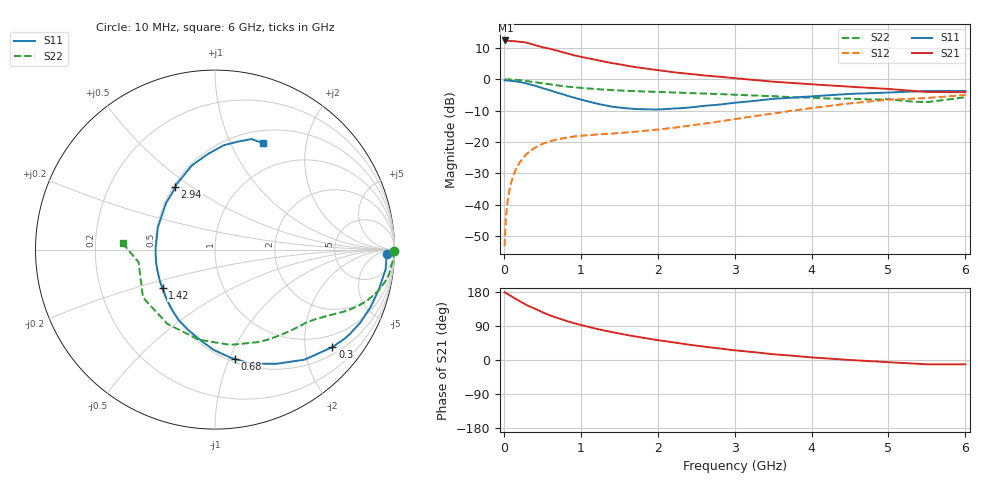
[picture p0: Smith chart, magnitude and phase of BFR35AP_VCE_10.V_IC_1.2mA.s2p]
! Infineon Technologies  Discrete & RF Semiconductors
! BFR35AP
! VCE =  10. V,  IC =  1.2 mA
! Common Emitter S-Parameters:  Nov 2015
# GHz  S  MA  R  50
!  f  S11  S21  S12  S22
! GHz  MAG  ANG  MAG  ANG  MAG  ANG  MAG  ANG
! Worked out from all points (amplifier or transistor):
!   210 points, 10 MHz to 6 GHz, reference 50 ohm
!   highest |S21| = 12.3 dB at 20 MHz (marker M1)
!   |S21| within 3 dB of that: start of sweep to 656.4 MHz
!   unconditionally stable (mu >= 1): 1.408 GHz to 3.406 GHz
!   at 185 MHz: K = 0.16, MSG = 19.7 dB, |S12| = -27.4 dB
!   at 1.52 GHz: K = 1.05, MAG = 9.6 dB, |S12| = -17.1 dB
!   at 6 GHz: K = 0.96, MSG = 0.5 dB, |S12| = -5.0 dB
!   S11 on the Smith chart (normalised r, x): 10 MHz: 35, -19; 300 MHz: 0.67, -2.62; 680 MHz: 0.53, -1.05; 1.42 GHz: 0.51, -0.25; 2.94 GHz: 0.51, +0.43; 6 GHz: 0.65, +1.33
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0.01  0.9572 -1.4  4.098 179.0  0.0022 90.0  0.9999 -0.5
0.02  0.9567 -2.9  4.131 177.4  0.0044 89.4  0.9913 -1.0
0.03  0.9563 -4.2  4.113 176.3  0.0068 86.6  0.9928 -1.6
0.05  0.9569 -6.7  4.082 174.0  0.0117 84.5  0.9961 -2.7
0.1  0.9395 -13.8  4.063 168.3  0.0237 82.7  0.9864 -5.3
0.15  0.9236 -20.4  4.02 161.5  0.0351 77.1  0.98 -8.0
0.3  0.8499 -39.7  3.798 144.6  0.0651 66.8  0.9328 -14.7
0.5  0.7226 -61.7  3.229 125.8  0.093 55.7  0.8593 -21.3
0.6  0.6661 -72.5  3.047 117.6  0.1028 51.5  0.8242 -23.8
0.68  0.6186 -79.8  2.878 112.0  0.1089 48.9  0.7998 -25.5
0.8  0.5576 -91.0  2.616 103.7  0.1163 45.7  0.7655 -27.6
1.02  0.4674 -109.4  2.244 91.4  0.1263 42.0  0.7236 -30.7
1.2  0.4116 -125.6  2.027 82.3  0.1314 40.7  0.6951 -33.3
1.42  0.3631 -143.5  1.79 73.1  0.1365 41.1  0.6694 -36.1
1.6  0.3434 -158.1  1.634 65.8  0.1419 41.9  0.6517 -38.4
2.02  0.3302 170.1  1.383 51.8  0.1587 45.3  0.6255 -44.8
2.94  0.4127 122.6  1.054 27.1  0.2254 50.4  0.5699 -64.1
3.1  0.4321 117.2  1.01 23.7  0.2415 50.1  0.5576 -68.6
4.1  0.5434 92.2  0.814 5.5  0.3593 43.3  0.5003 -104.5
5.1  0.6196 77.0  0.684 -7.0  0.4771 28.2  0.4656 -150.7
5.5  0.6489 71.7  0.626 -11.4  0.5021 20.5  0.4315 -170.7
6  0.6496 65.9  0.621 -11.4  0.5597 15.6  0.5162 176.0
